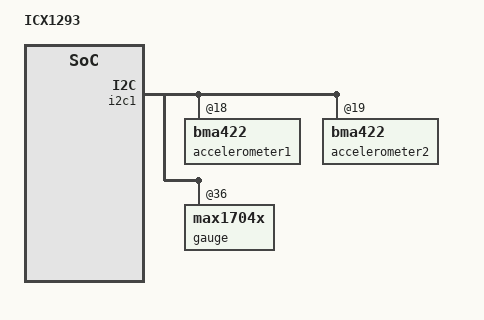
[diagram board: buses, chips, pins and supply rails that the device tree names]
// SPDX-License-Identifier: GPL-2.0
/*
 * Copyright 2018 Sony Video & Sound Products Inc.
 */

#include "sony-imx8mm-dmp1.dts"

/ {
	model = "ICX1293";
	thermal-zones {
		cpu-thermal {
			trips {
				cpu_alert0: trip0 {
					temperature = <75000>;
				};
			};
		};
	};
};

&i2c1 {
	accelerometer1: bma422@18 {
		bma4xy,axis_map = "-y", "+x", "+z";
	};
	accelerometer2: bma422@19 {
		bma4xy,axis_map = "-y", "+x", "+z";
	};
	gauge: max1704x@36 {
		full_battery_capacity = <1285000>; /* uAh */
		/* Battery model */
		empty_adjustment = <0>;
		full_adjustment = <100>;
		rcomp0 = <60>;
		temp_co_up = <(-0)>; /* x100000 */
		temp_co_down = <(-350000)>; /* x100000 */
		ocv_test = <55648>;
		soc_check_a = <104>;
		soc_check_b = <106>;
		bits = <18>;
		rcomp_seg = <0x0100>;
		model_data = [
			AA 80 B6 10 B9 50 BA 80 BB B0 BC 70 BD 40 BE 10
			BF 00 C0 00 C1 20 C3 60 C5 80 C8 20 CD 90 CF 60
			00 80 0E 00 13 40 0F F0 20 90 2A F0 24 20 1F 20
			10 70 0E A0 0E 00 0C E0 0E D0 0A A0 02 00 02 00
		];
	};
};
